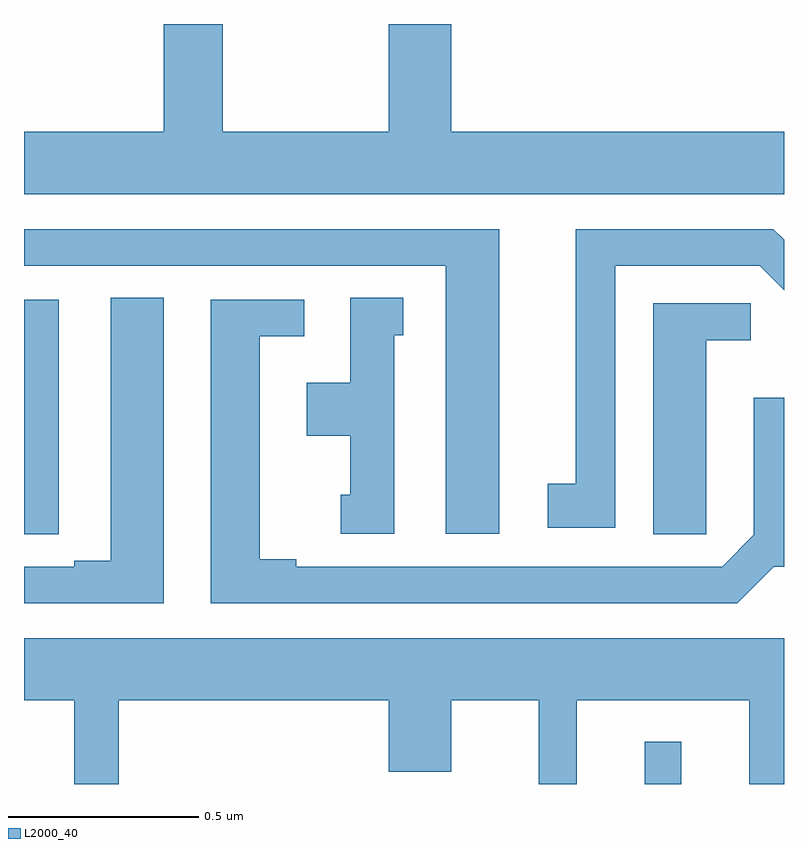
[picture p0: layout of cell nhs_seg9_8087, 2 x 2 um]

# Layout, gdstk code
import gdstk
lib = gdstk.Library(unit=1e-6, precision=1e-09)
def R(c, l, rs):  # rectangles x0, y0, x1, y1
    for r in rs: c.add(gdstk.rectangle(r[:2], r[2:], *l))
def P(c, l, *ps):  # polygons
    for p in ps: c.add(gdstk.Polygon(p, *l))
L2000_40 = (2000, 40)

nhs_seg9_8087 = lib.new_cell('nhs_seg9_8087')
R(nhs_seg9_8087, L2000_40, [(213.633,1229.5,213.73,1229.611)])
P(nhs_seg9_8087, L2000_40, [(214,1231.216),(213.124,1231.216),(213.124,1231.5),(212.96,1231.5),(212.96,1231.216),(212.523,1231.216),(212.523,1231.5),(212.368,1231.5),(212.368,1231.216),(212,1231.216),(212,1231.052),(214,1231.052)],
  [(213.556,1230.864),(213.936,1230.864),(214,1230.8),(214,1230.932),(213.972,1230.96),(213.452,1230.96),(213.452,1230.29),(213.378,1230.29),(213.378,1230.174),(213.556,1230.174)],
  [(213.25,1230.96),(212,1230.96),(212,1230.864),(213.11,1230.864),(213.11,1230.159),(213.25,1230.159)],
  [(212.974,1230.681),(212.998,1230.681),(212.998,1230.779),(212.858,1230.779),(212.858,1230.556),(212.744,1230.556),(212.744,1230.416),(212.858,1230.416),(212.858,1230.261),(212.834,1230.261),(212.834,1230.159),(212.974,1230.159)],
  [(212.368,1230.779),(212.228,1230.779),(212.228,1230.087),(212.132,1230.087),(212.132,1230.072),(212,1230.072),(212,1229.976),(212.368,1229.976)],
  [(212.091,1230.265),(212.092,1230.265),(212.092,1230.775),(212,1230.775),(212,1230.157),(212.091,1230.157)],
  [(213.973,1230.072),(214,1230.072),(214,1230.517),(213.921,1230.517),(213.921,1230.156),(213.837,1230.072),(212.716,1230.072),(212.716,1230.092),(212.62,1230.092),(212.62,1230.678),(212.737,1230.678),(212.737,1230.774),(212.492,1230.774),(212.492,1229.976),(213.877,1229.976)],
  [(213.795,1230.265),(213.796,1230.265),(213.796,1230.668),(213.913,1230.668),(213.913,1230.765),(213.656,1230.765),(213.656,1230.157),(213.795,1230.157)],
  [(212.249,1229.72),(212.96,1229.72),(212.96,1229.532),(213.124,1229.532),(213.124,1229.72),(213.355,1229.72),(213.355,1229.5),(213.455,1229.5),(213.455,1229.72),(213.908,1229.72),(213.908,1229.5),(214,1229.5),(214,1229.884),(212,1229.884),(212,1229.72),(212.132,1229.72),(212.132,1229.5),(212.249,1229.5)])

lib.write_gds('nhs_seg9_8087.gds')
